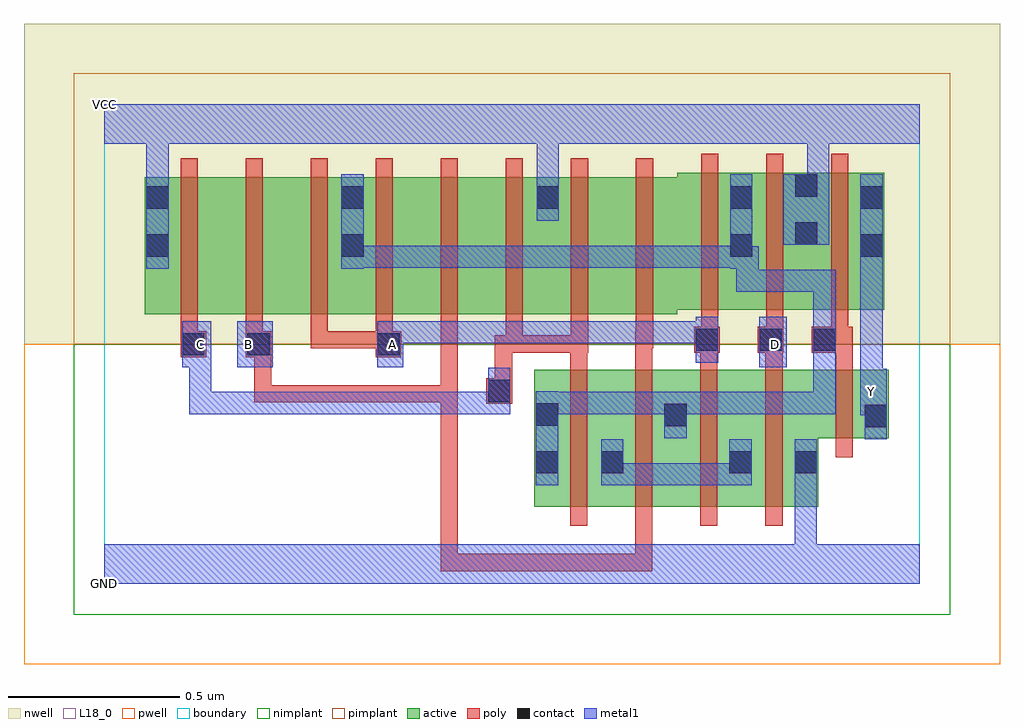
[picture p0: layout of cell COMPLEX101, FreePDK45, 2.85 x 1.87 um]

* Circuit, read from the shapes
.subckt COMPLEX101 A B C D GND VCC Y
M1 n1 C n2 VSUBS nfet w=0.4u l=0.05u
M2 n2 B n1 VSUBS nfet w=0.4u l=0.05u
M3 n1 A n2 VSUBS nfet w=0.4u l=0.05u
M4 GND D n1 VSUBS nfet w=0.4u l=0.05u
M5 Y n2 GND VSUBS nfet w=0.2u l=0.05u
M6 n3 C VCC n4 pfet w=0.4u l=0.05u
M7 n5 B n3 n4 pfet w=0.4u l=0.05u
M8 n2 A n5 n4 pfet w=0.4u l=0.05u
M9 n6 A n2 n4 pfet w=0.4u l=0.05u
M10 n7 B n6 n4 pfet w=0.4u l=0.05u
M11 VCC C n7 n4 pfet w=0.4u l=0.05u
M12 n8 C VCC n4 pfet w=0.4u l=0.05u
M13 n9 B n8 n4 pfet w=0.4u l=0.05u
M14 n2 A n9 n4 pfet w=0.4u l=0.05u
M15 VCC D n2 n4 pfet w=0.4u l=0.05u
M16 Y n2 VCC n4 pfet w=0.4u l=0.05u
.ends

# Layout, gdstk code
import gdstk
lib = gdstk.Library(unit=1e-6, precision=1e-09)
def R(c, l, rs):  # rectangles x0, y0, x1, y1
    for r in rs: c.add(gdstk.rectangle(r[:2], r[2:], *l))
def A(c, l, x, y, w, h, nx, ny, dx, dy):  # array of equal rectangles
    R(c, l, [(x+i*dx, y+j*dy, x+i*dx+w, y+j*dy+h) for i in range(nx) for j in range(ny)])
active = (1, 0)
pwell = (2, 0)
nwell = (3, 0)
nimplant = (4, 0)
pimplant = (5, 0)
poly = (9, 0)
contact = (10, 0)
metal1 = (11, 0)
L18_0 = (18, 0)
boundary = (235, 0)

complex101 = lib.new_cell('COMPLEX101')
A(complex101, active, 0.117, 0.787, 0.225, 0.4, 3, 1, 0.57, 0)
A(complex101, active, 0.342, 0.787, 0.19, 0.4, 3, 1, 0.57, 0)
R(complex101, active, [(1.255,0.225,1.52,0.625), (1.445,0.225,1.705,0.625), (1.63,0.225,1.895,0.625), (1.82,0.225,2.085,0.625), (2.01,0.225,2.085,0.597), (1.255,0.245,1.33,0.625), (1.445,0.245,1.52,0.537), (1.63,0.245,1.705,0.625), (1.82,0.245,1.895,0.492), (2.01,0.425,2.29,0.625), (2.215,0.425,2.29,0.625), (0.117,0.787,0.192,1.187), (0.532,0.787,0.762,1.187), (1.102,0.787,1.332,1.187), (1.672,0.8,1.897,1.2), (1.822,0.8,2.087,1.2), (2.012,0.8,2.277,1.2), (2.202,0.8,2.277,1.2), (2.012,0.802,2.087,1.2), (0.687,0.907,0.762,1.165), (1.257,0.907,1.332,1.167), (1.822,0.907,1.897,1.2)])
R(complex101, pwell, [(-0.235,-0.235,2.615,0.7)])
R(complex101, nwell, [(-0.235,0.7,2.615,1.635)])
R(complex101, nimplant, [(-0.09,-0.09,2.47,0.7)])
R(complex101, pimplant, [(-0.09,0.7,2.47,1.49)])
A(complex101, poly, 1.36, 0.17, 0.05, 0.51, 4, 1, 0.19, 0)
A(complex101, poly, 0.222, 0.687, 0.05, 0.095, 4, 1, 0.19, 0)
A(complex101, poly, 1.742, 0.7, 0.05, 0.095, 3, 1, 0.19, 0)
A(complex101, poly, 0.222, 0.732, 0.05, 0.51, 8, 1, 0.19, 0)
A(complex101, poly, 1.742, 0.745, 0.05, 0.51, 3, 1, 0.19, 0)
R(complex101, poly, [(0.982,0.037,1.032,0.087), (0.982,0.037,1.032,0.087), (0.982,0.037,1.032,0.087), (0.982,0.037,1.165,0.087), (0.982,0.037,1.032,0.58), (1.115,0.037,1.165,0.087), (1.115,0.037,1.165,0.087), (1.115,0.037,1.165,0.087), (1.115,0.037,1.165,0.087), (1.115,0.037,1.165,0.087), (1.115,0.037,1.355,0.087), (1.305,0.037,1.355,0.087), (1.305,0.037,1.355,0.087), (1.305,0.037,1.355,0.087), (1.305,0.037,1.6,0.087), (1.55,0.037,1.6,0.22), (1.55,0.037,1.6,0.087), (1.55,0.037,1.6,0.087), (1.55,0.037,1.6,0.087), (2.135,0.37,2.185,0.68), (1.115,0.525,1.19,0.6), (0.437,0.53,0.487,0.58), (0.437,0.53,0.487,0.58), (0.437,0.53,0.487,0.58), (0.437,0.53,0.71,0.58), (0.437,0.53,0.487,0.712), (0.66,0.53,0.71,0.58), (0.66,0.53,0.71,0.58), (0.66,0.53,0.71,0.58), (0.66,0.53,0.9,0.58), (0.85,0.53,0.9,0.58), (0.85,0.53,1.032,0.58), (0.982,0.53,1.032,0.58), (0.982,0.53,1.032,0.58), (0.982,0.53,1.032,0.58), (0.982,0.53,1.032,0.58), (0.982,0.53,1.032,0.58), (0.982,0.53,1.032,0.58), (0.982,0.53,1.032,0.58), (0.982,0.53,1.032,0.782), (1.14,0.55,1.19,0.725), (1.36,0.63,1.41,0.725), (1.55,0.63,1.6,0.737), (1.74,0.63,1.79,0.725), (1.93,0.63,1.98,0.725), (2.135,0.63,2.185,0.725), (0.222,0.662,0.297,0.737), (0.412,0.662,0.487,0.737), (0.437,0.662,0.487,0.712), (0.437,0.662,0.487,0.712), (0.792,0.662,0.867,0.737), (1.14,0.675,1.205,0.725), (1.155,0.675,1.205,0.725), (1.155,0.675,1.222,0.725), (1.172,0.675,1.222,0.782), (1.172,0.675,1.41,0.725), (1.36,0.675,1.412,0.725), (1.36,0.675,1.41,0.725), (1.36,0.675,1.41,0.725), (1.362,0.675,1.412,0.782), (1.722,0.675,1.797,0.75), (1.907,0.675,1.982,0.75), (2.065,0.675,2.185,0.75), (0.602,0.687,0.652,0.737), (0.602,0.687,0.842,0.737), (0.792,0.687,0.842,0.737), (0.792,0.687,0.842,0.737), (1.55,0.687,1.602,0.737), (1.552,0.687,1.602,0.782)])
A(complex101, contact, 0.122, 1.095, 0.065, 0.065, 3, 1, 0.57, 0)
R(complex101, contact, [(1.26,0.322,1.325,0.387), (1.45,0.322,1.515,0.387), (1.825,0.322,1.89,0.387), (2.015,0.322,2.08,0.387), (2.22,0.457,2.285,0.522), (1.635,0.46,1.7,0.525), (1.26,0.462,1.325,0.527), (1.12,0.53,1.185,0.595), (0.227,0.667,0.292,0.732), (0.417,0.667,0.482,0.732), (0.797,0.667,0.862,0.732), (1.727,0.68,1.792,0.745), (1.912,0.68,1.977,0.745), (2.07,0.68,2.135,0.745), (0.122,0.955,0.187,1.02), (0.692,0.955,0.757,1.02), (1.827,0.955,1.892,1.02), (2.207,0.955,2.272,1.02), (2.017,0.99,2.082,1.055), (1.827,1.095,1.892,1.16), (2.207,1.095,2.272,1.16), (2.017,1.13,2.082,1.195)])
R(complex101, metal1, [(0,0,2.38,0.115), (2.015,0.05,2.08,0.352), (1.26,0.287,1.325,0.562), (1.45,0.287,1.515,0.352), (1.45,0.287,1.515,0.352), (1.45,0.287,1.515,0.422), (1.45,0.287,1.752,0.352), (1.687,0.287,1.752,0.352), (1.687,0.287,1.752,0.352), (1.687,0.287,1.752,0.352), (1.687,0.287,1.89,0.352), (1.825,0.287,1.89,0.422), (2.015,0.287,2.08,0.352), (2.015,0.287,2.08,0.352), (2.015,0.287,2.08,0.422), (2.22,0.422,2.285,0.557), (1.635,0.425,1.7,0.56), (2.207,0.492,2.285,0.627), (2.22,0.492,2.285,0.557), (0.247,0.495,0.312,0.56), (0.247,0.495,0.45,0.56), (0.247,0.495,0.312,0.697), (0.385,0.495,0.45,0.56), (0.385,0.495,0.45,0.56), (0.385,0.495,0.45,0.56), (0.385,0.495,0.62,0.56), (0.555,0.495,0.62,0.56), (0.555,0.495,0.62,0.56), (0.555,0.495,0.62,0.56), (0.555,0.495,0.757,0.56), (0.692,0.495,0.757,0.56), (0.692,0.495,1.01,0.56), (0.945,0.495,1.01,0.56), (0.945,0.495,1.01,0.56), (0.945,0.495,1.01,0.56), (0.945,0.495,1.185,0.56), (1.12,0.495,1.185,0.56), (1.12,0.495,1.185,0.56), (1.12,0.495,1.185,0.56), (1.12,0.495,1.185,0.56), (1.12,0.495,1.185,0.63), (1.26,0.495,1.325,0.56), (1.26,0.495,1.325,0.56), (1.26,0.495,1.515,0.56), (1.45,0.495,1.515,0.56), (1.45,0.495,1.515,0.56), (1.45,0.495,1.515,0.56), (1.45,0.495,1.7,0.56), (1.635,0.495,1.772,0.56), (1.707,0.495,1.772,0.56), (1.707,0.495,1.89,0.56), (1.825,0.495,1.89,0.56), (1.825,0.495,1.997,0.56), (1.932,0.495,1.997,0.56), (1.932,0.495,2.135,0.56), (2.07,0.495,2.135,0.56), (2.07,0.495,2.135,0.71), (2.207,0.562,2.272,0.985), (0.227,0.632,0.312,0.767), (0.247,0.632,0.312,0.697), (0.247,0.632,0.312,0.697), (0.387,0.632,0.492,0.767), (0.797,0.632,0.872,0.767), (1.912,0.632,1.992,0.78), (1.727,0.645,1.792,0.78), (2.07,0.645,2.135,0.71), (2.07,0.645,2.135,0.71), (2.07,0.645,2.135,0.78), (2.07,0.645,2.135,0.917), (0.807,0.702,0.895,0.767), (0.83,0.702,0.895,0.767), (0.83,0.702,1.01,0.767), (0.945,0.702,1.01,0.767), (0.945,0.702,1.187,0.767), (1.122,0.702,1.187,0.767), (1.122,0.702,1.187,0.767), (1.122,0.702,1.187,0.767), (1.122,0.702,1.325,0.767), (1.26,0.702,1.325,0.767), (1.26,0.702,1.325,0.767), (1.26,0.702,1.325,0.767), (1.26,0.702,1.497,0.767), (1.432,0.702,1.497,0.767), (1.432,0.702,1.615,0.767), (1.55,0.702,1.615,0.767), (1.55,0.702,1.652,0.767), (1.587,0.702,1.652,0.767), (1.587,0.702,1.792,0.767), (1.845,0.852,2.135,0.917), (1.845,0.852,1.91,0.985), (2.07,0.852,2.135,0.917), (0.122,0.92,0.187,1.195), (0.692,0.92,0.757,1.195), (1.827,0.92,1.892,1.195), (1.827,0.92,1.91,0.985), (2.207,0.92,2.272,1.195), (0.692,0.922,0.757,0.987), (0.692,0.922,0.757,0.987), (0.692,0.922,0.895,0.987), (0.83,0.922,0.895,0.987), (0.83,0.922,1.01,0.987), (0.945,0.922,1.01,0.987), (0.945,0.922,1.147,0.987), (1.082,0.922,1.147,0.987), (1.082,0.922,1.147,0.987), (1.082,0.922,1.147,0.987), (1.082,0.922,1.342,0.987), (1.277,0.922,1.342,0.987), (1.277,0.922,1.342,0.987), (1.277,0.922,1.342,0.987), (1.277,0.922,1.515,0.987), (1.45,0.922,1.515,0.987), (1.45,0.922,1.515,0.987), (1.45,0.922,1.515,0.987), (1.45,0.922,1.652,0.987), (1.587,0.922,1.652,0.987), (1.587,0.922,1.772,0.987), (1.707,0.922,1.772,0.987), (1.707,0.922,1.892,0.987), (1.982,0.99,2.117,1.195), (1.262,1.06,1.327,1.195), (0.122,1.13,0.187,1.35), (1.262,1.13,1.327,1.35), (2.052,1.13,2.117,1.35), (0,1.285,2.38,1.4)])
R(complex101, L18_0, [(0,0,2.38,0.115), (2.015,0.05,2.08,0.352), (2.015,0.287,2.08,0.352), (2.015,0.287,2.08,0.352), (2.015,0.287,2.08,0.422), (2.22,0.422,2.285,0.557), (2.207,0.492,2.285,0.627), (2.22,0.492,2.285,0.557), (0.247,0.495,0.312,0.56), (0.247,0.495,0.312,0.697), (0.247,0.495,0.45,0.56), (0.385,0.495,0.45,0.56), (0.385,0.495,0.45,0.56), (0.385,0.495,0.45,0.56), (0.385,0.495,0.62,0.56), (0.555,0.495,0.62,0.56), (0.555,0.495,0.62,0.56), (0.555,0.495,0.62,0.56), (0.555,0.495,0.757,0.56), (0.692,0.495,0.757,0.56), (0.692,0.495,1.01,0.56), (0.945,0.495,1.01,0.56), (0.945,0.495,1.01,0.56), (0.945,0.495,1.01,0.56), (0.945,0.495,1.185,0.56), (1.12,0.495,1.185,0.56), (1.12,0.495,1.185,0.56), (1.12,0.495,1.185,0.56), (1.12,0.495,1.185,0.56), (1.12,0.495,1.185,0.63), (2.207,0.527,2.272,0.592), (2.207,0.562,2.272,0.985), (0.227,0.632,0.312,0.767), (0.247,0.632,0.312,0.697), (0.247,0.632,0.312,0.697), (0.387,0.632,0.492,0.767), (0.797,0.632,0.872,0.767), (1.912,0.632,1.992,0.78), (1.727,0.645,1.792,0.78), (0.247,0.667,0.312,0.732), (0.387,0.667,0.452,0.732), (0.807,0.667,0.872,0.732), (1.927,0.667,1.992,0.732), (0.807,0.702,0.895,0.767), (0.83,0.702,0.895,0.767), (0.83,0.702,1.01,0.767), (0.945,0.702,1.01,0.767), (0.945,0.702,1.187,0.767), (1.122,0.702,1.187,0.767), (1.122,0.702,1.187,0.767), (1.122,0.702,1.187,0.767), (1.122,0.702,1.325,0.767), (1.26,0.702,1.325,0.767), (1.26,0.702,1.325,0.767), (1.26,0.702,1.325,0.767), (1.26,0.702,1.497,0.767), (1.432,0.702,1.497,0.767), (1.432,0.702,1.615,0.767), (1.55,0.702,1.615,0.767), (1.55,0.702,1.652,0.767), (1.587,0.702,1.652,0.767), (1.587,0.702,1.792,0.767), (0.122,0.92,0.187,1.195), (2.207,0.92,2.272,1.195), (1.982,0.99,2.117,1.195), (1.262,1.06,1.327,1.195), (0.122,1.13,0.187,1.35), (1.262,1.13,1.327,1.35), (2.052,1.13,2.117,1.35), (0,1.285,2.38,1.4)])
R(complex101, boundary, [(0,0,2.38,1.4)])
complex101.add(gdstk.Label('A', (0.84,0.7), layer=11, texttype=0))
complex101.add(gdstk.Label('B', (0.42,0.7), layer=11, texttype=0))
complex101.add(gdstk.Label('C', (0.28,0.7), layer=11, texttype=0))
complex101.add(gdstk.Label('D', (1.96,0.7), layer=11, texttype=0))
complex101.add(gdstk.Label('Y', (2.24,0.56), layer=11, texttype=0))
complex101.add(gdstk.Label('VCC', (0,1.4), layer=11, texttype=0))
complex101.add(gdstk.Label('GND', (0,0), layer=11, texttype=0))

lib.write_gds('COMPLEX101.gds')
